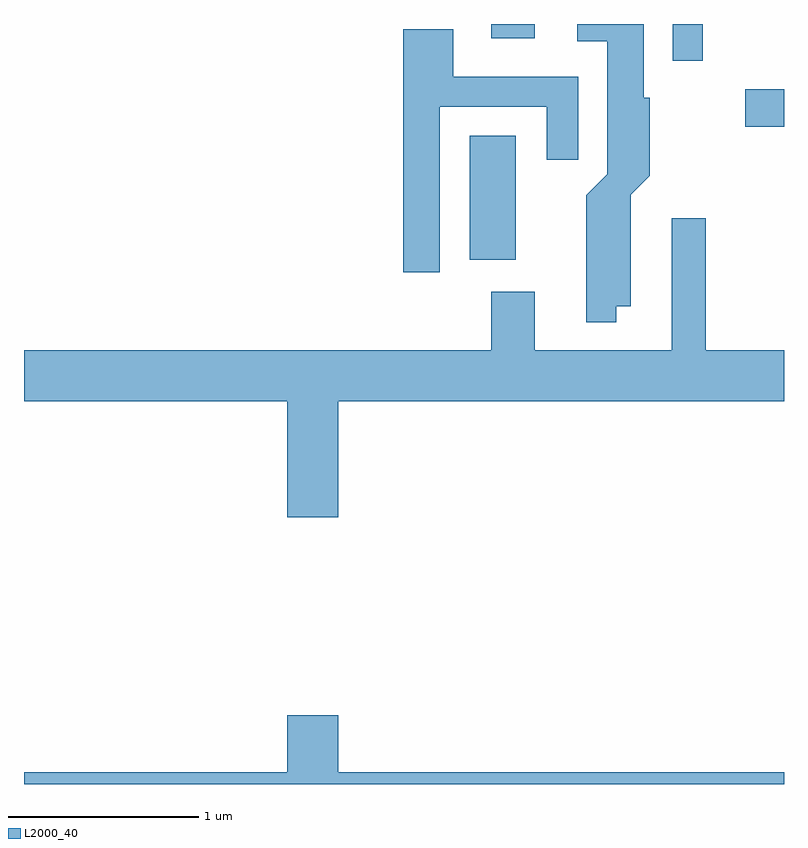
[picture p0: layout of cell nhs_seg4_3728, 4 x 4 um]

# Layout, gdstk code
import gdstk
lib = gdstk.Library(unit=1e-6, precision=1e-09)
def R(c, l, rs):  # rectangles x0, y0, x1, y1
    for r in rs: c.add(gdstk.rectangle(r[:2], r[2:], *l))
def P(c, l, *ps):  # polygons
    for p in ps: c.add(gdstk.Polygon(p, *l))
L2000_40 = (2000, 40)

nhs_seg4_3728 = lib.new_cell('nhs_seg4_3728')
R(nhs_seg4_3728, L2000_40, [(295.956,1368.741,296.199,1369.394), (297.406,1369.441,297.611,1369.639), (297.026,1369.788,297.184,1369.982), (296.071,1369.906,296.299,1369.982)])
P(nhs_seg4_3728, L2000_40, [(296.729,1368.496),(296.804,1368.496),(296.804,1369.084),(296.904,1369.184),(296.904,1369.594),(296.874,1369.594),(296.874,1369.982),(296.523,1369.982),(296.523,1369.891),(296.681,1369.891),(296.681,1369.192),(296.571,1369.082),(296.571,1368.413),(296.729,1368.413)],
  [(295.799,1369.546),(296.361,1369.546),(296.361,1369.268),(296.529,1369.268),(296.529,1369.704),(295.869,1369.704),(295.869,1369.954),(295.606,1369.954),(295.606,1368.676),(295.799,1368.676)],
  [(295.264,1367.996),(297.611,1367.996),(297.611,1368.264),(297.199,1368.264),(297.199,1368.959),(297.021,1368.959),(297.021,1368.264),(296.299,1368.264),(296.299,1368.574),(296.071,1368.574),(296.071,1368.264),(293.611,1368.264),(293.611,1367.996),(294.996,1367.996),(294.996,1367.386),(295.264,1367.386)],
  [(297.611,1366.044),(295.264,1366.044),(295.264,1366.344),(294.996,1366.344),(294.996,1366.044),(293.611,1366.044),(293.611,1365.982),(297.611,1365.982)])

lib.write_gds('nhs_seg4_3728.gds')
